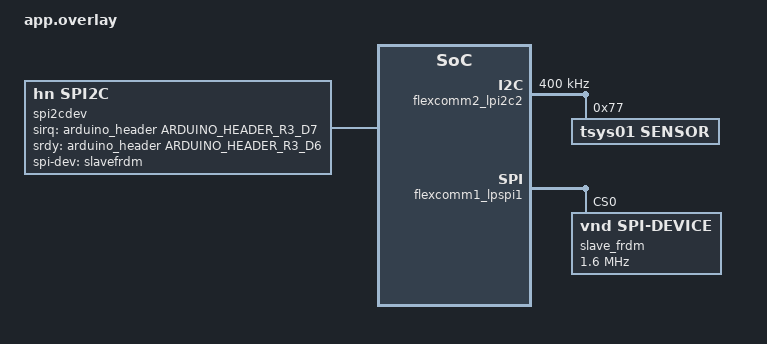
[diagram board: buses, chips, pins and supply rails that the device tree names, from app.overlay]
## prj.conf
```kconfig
CONFIG_HN_SPI2C=y
CONFIG_SPI2C_CUSTOM_REGISTER_AMT=0
CONFIG_SPI2C_INTERNAL_REGISTER_AMT=2
CONFIG_SPI=y
CONFIG_I2C=y
CONFIG_SPI_NXP_LPSPI=y
CONFIG_SPI_NXP_LPSPI_DMA=n
CONFIG_SPI_ASYNC=y
CONFIG_TSYS01_SENSOR=y
CONFIG_SPI_SLAVE=y
CONFIG_GPIO=y
CONFIG_PRINTK=y
CONFIG_CRC=y
CONFIG_LOG=n
CONFIG_LOG_DEFAULT_LEVEL=4
CONFIG_DEBUG_THREAD_INFO=y
CONFIG_THREAD_NAME=y
CONFIG_THREAD_MONITOR=y
CONFIG_MAIN_STACK_SIZE=8192
CONFIG_LOG_PRINTK=y
CONFIG_LOG_MODE_DEFERRED=y
CONFIG_LOG_BUFFER_SIZE=4096
```

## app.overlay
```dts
&flexcomm2_lpi2c2 {
    status = "okay";
    clock-frequency = <I2C_BITRATE_FAST>;
    tsys01: tsys01@77 {
	compatible = "tsys01,sensor";
        reg = <0x77>;
        status = "okay";
    };
};

&flexcomm1_lpspi1 {
	//transfer-delay = <100>;
	//sck-pcs-delay = <200>;
	//pcs-sck-delay = <200>;
	slavefrdm: slavefrdm@0 {
		compatible = "vnd,spi-device";
		reg = <0>;
		spi-max-frequency = <1600000>;
		label = "slave_frdm";
	};
};

&flexcomm1 {
	interrupts = <36 1>;
};

/ {
	spi2cdev: spi2cdev {
		compatible = "hn,spi2c";
		custom-devs = <&tsys01>;
		sirq-gpios = <&arduino_header ARDUINO_HEADER_R3_D7 GPIO_ACTIVE_HIGH>;
		srdy-gpios = <&arduino_header ARDUINO_HEADER_R3_D6 GPIO_ACTIVE_HIGH>;
		spi-dev = <&slavefrdm>;
	};
};
```

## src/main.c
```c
#include <zephyr/device.h>
#include <zephyr/devicetree.h>
#include <zephyr/kernel.h>
#include <spi2c-com.h>

const struct device* dev = DEVICE_DT_GET(DT_NODELABEL(spi2cdev));

int main(void) {
	printk("packet_in size: %d\n", sizeof(spi2c_packet_in_t));
	printk("packed_out size: %d\n", sizeof(spi2c_packet_out_t));
	spi2c_begin_com(dev);
	printk("spi2c driver started\n");
	for (;;) { k_msleep(1000); }
	return 0;
}
```
